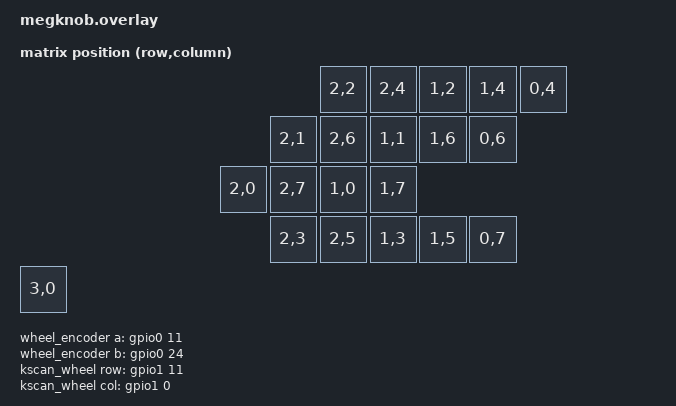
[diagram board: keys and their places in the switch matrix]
/*
 * SPDX-License-Identifier: MIT
 */

#include <dt-bindings/led/led.h>
#include <dt-bindings/zmk/matrix_transform.h>
#include <physical_layouts.dtsi>
#include <zephyr/dt-bindings/adc/adc.h>
#include <zephyr/dt-bindings/adc/nrf-saadc.h>

/ {
    chosen {
        zmk,kscan = &kscan0;
        zmk,physical-layout = &megknob_layout;
        zmk,underglow = &led_strip;
        /* Dedicated USB CDC ACM virtual serial port for Hall voltage
         * telemetry (see app/module/lib/hall_telemetry), separate and
         * independent from HID/BLE. Enabling
         * this only turns on the telemetry *link*; the actual Kconfig
         * (CONFIG_HALL_TELEMETRY) still has to be enabled in megknob.conf. */
        zmk,hall-telemetry-uart = &hall_telemetry_uart;
    };

    kscan0: kscan {
        compatible = "zmk,kscan-composite";
        rows = <4>;
        columns = <8>;

        adc_mux {
            kscan = <&kscan_adc_mux>;
        };

        wheel {
            kscan = <&kscan_wheel>;
            row-offset = <3>;
        };
    };

    /* Wheel rotation quadrature encoder. The wheel's A/B phases (P0.11,
     * P0.24 against the common P1.11) used to be wired into kscan_wheel as
     * two independent matrix keys, which is electrically wrong for a
     * mechanical encoder: both phases toggle on every detent, so a single
     * rotation in either direction produced two key events instead of one
     * directional step. alps,ec11 decodes the canonical
     * 00 -> 01 -> 11 -> 10 (or reverse) gray-code sequence and reports a
     * single signed delta per detent instead.
     *
     * steps/triggers-per-rotation below are carried over from the previous
     * per-phase GPIO wiring as a starting point and have not been verified
     * against the physical encoder's pulses-per-rotation with a logic
     * analyzer; recheck direction and step count on real hardware before
     * relying on them for anything other than "does turning produce
     * same-signed deltas in one direction". */
    wheel_encoder: wheel_encoder {
        compatible = "alps,ec11";
        status = "okay";
        a-gpios = <&gpio0 11 GPIO_ACTIVE_HIGH>;
        b-gpios = <&gpio0 24 GPIO_ACTIVE_HIGH>;
        steps = <80>;
    };

    sensors: sensors {
        compatible = "zmk,keymap-sensors";
        sensors = <&wheel_encoder>;
        triggers-per-rotation = <20>;
    };

    kscan_adc_mux: kscan_adc_mux {
        compatible = "zmk,kscan-adc-mux";
        wakeup-source;
        address-gpios
            = <&gpio1 6 GPIO_ACTIVE_HIGH>
            , <&gpio0 9 GPIO_ACTIVE_HIGH>
            , <&gpio0 10 GPIO_ACTIVE_HIGH>;
        io-channels = <&adc 7>, <&adc 5>, <&adc 0>;
        polling-interval-ms = <5>;
        settle-time-us = <20>;
        press-threshold-mv = <1000>;
        release-threshold-mv = <1300>;
        /* Require ~3 consecutive 5ms scans (15ms) agreeing before latching a
         * transition. Hall output can hover right at the press/release
         * threshold (mechanical vibration, magnet wobble, ADC noise) even
         * while the finger is holding perfectly still; without this the
         * driver used to emit a burst of spurious press/release pairs at
         * scan rate whenever that happened, which could desync ZMK's
         * modifier reference counting and leave Ctrl/Alt/GUI stuck down on
         * the host with no USB/BLE disconnect involved. */
        debounce-press-ms = <15>;
        debounce-release-ms = <15>;
    };

    /* Wheel push only. The A/B rotation phases that used to live in
     * columns 1/2 here have moved to wheel_encoder above; this now only
     * scans the physical push button on P1.00 against the common P1.11. */
    kscan_wheel: kscan_wheel {
        compatible = "zmk,kscan-gpio-matrix";
        wakeup-source;
        debounce-press-ms = <10>;
        debounce-release-ms = <10>;
        diode-direction = "col2row";
        row-gpios = <&gpio1 11 (GPIO_ACTIVE_HIGH | GPIO_PULL_DOWN)>;
        col-gpios = <&gpio1 0 GPIO_ACTIVE_HIGH>;
    };

    /* Only 20 physical keys now: the wheel's two rotation phases (formerly
     * the last two entries here, RC(3,1)/RC(3,2)) are no longer matrix
     * positions -- they are decoded by wheel_encoder/sensors above and
     * bound in the keymap via sensor-bindings instead of key bindings. */
    megknob_layout: physical_layout_0 {
        compatible = "zmk,physical-layout";
        display-name = "MegKnob";
        keys
            = <&key_physical_attrs 100 100 600   0 0 0 0>
            , <&key_physical_attrs 100 100 700   0 0 0 0>
            , <&key_physical_attrs 100 100 800   0 0 0 0>
            , <&key_physical_attrs 100 100 900   0 0 0 0>
            , <&key_physical_attrs 100 100 1000  0 0 0 0>
            , <&key_physical_attrs 100 100 500 100 0 0 0>
            , <&key_physical_attrs 100 100 600 100 0 0 0>
            , <&key_physical_attrs 100 100 700 100 0 0 0>
            , <&key_physical_attrs 100 100 800 100 0 0 0>
            , <&key_physical_attrs 100 100 900 100 0 0 0>
            , <&key_physical_attrs 100 100 400 200 0 0 0>
            , <&key_physical_attrs 100 100 500 200 0 0 0>
            , <&key_physical_attrs 100 100 600 200 0 0 0>
            , <&key_physical_attrs 100 100 700 200 0 0 0>
            , <&key_physical_attrs 100 100 500 300 0 0 0>
            , <&key_physical_attrs 100 100 600 300 0 0 0>
            , <&key_physical_attrs 100 100 700 300 0 0 0>
            , <&key_physical_attrs 100 100 800 300 0 0 0>
            , <&key_physical_attrs 100 100 900 300 0 0 0>
            , <&key_physical_attrs 100 100   0 400 0 0 0>;
        transform = <&megknob_transform>;
    };

    megknob_transform: keymap_transform_0 {
        compatible = "zmk,matrix-transform";
        columns = <8>;
        rows = <4>;
        map = <
            RC(2,2) RC(2,4) RC(1,2) RC(1,4) RC(0,4)
            RC(2,1) RC(2,6) RC(1,1) RC(1,6) RC(0,6)
            RC(2,0) RC(2,7) RC(1,0) RC(1,7)
            RC(2,3) RC(2,5) RC(1,3) RC(1,5) RC(0,7)
            RC(3,0)
        >;
    };
};

&adc {
    status = "okay";
    #address-cells = <1>;
    #size-cells = <0>;

    channel@0 {
        reg = <0>;
        zephyr,gain = "ADC_GAIN_1_6";
        zephyr,reference = "ADC_REF_INTERNAL";
        zephyr,acquisition-time = <ADC_ACQ_TIME_DEFAULT>;
        zephyr,input-positive = <NRF_SAADC_AIN0>;
        zephyr,resolution = <12>;
    };

    channel@5 {
        reg = <5>;
        zephyr,gain = "ADC_GAIN_1_6";
        zephyr,reference = "ADC_REF_INTERNAL";
        zephyr,acquisition-time = <ADC_ACQ_TIME_DEFAULT>;
        zephyr,input-positive = <NRF_SAADC_AIN5>;
        zephyr,resolution = <12>;
    };

    channel@7 {
        reg = <7>;
        zephyr,gain = "ADC_GAIN_1_6";
        zephyr,reference = "ADC_REF_INTERNAL";
        zephyr,acquisition-time = <ADC_ACQ_TIME_DEFAULT>;
        zephyr,input-positive = <NRF_SAADC_AIN7>;
        zephyr,resolution = <12>;
    };
};

&zephyr_udc0 {
    hall_telemetry_uart: hall_telemetry_uart {
        compatible = "zephyr,cdc-acm-uart";
    };
};

&pinctrl {
    megknob_spi3_default: megknob_spi3_default {
        group1 {
            psels = <NRF_PSEL(SPIM_MOSI, 1, 4)>;
        };
    };

    megknob_spi3_sleep: megknob_spi3_sleep {
        group1 {
            psels = <NRF_PSEL(SPIM_MOSI, 1, 4)>;
            low-power-enable;
        };
    };
};

&spi3 {
    compatible = "nordic,nrf-spim";
    status = "okay";

    pinctrl-0 = <&megknob_spi3_default>;
    pinctrl-1 = <&megknob_spi3_sleep>;
    pinctrl-names = "default", "sleep";

    led_strip: ws2812@0 {
        compatible = "worldsemi,ws2812-spi";
        reg = <0>;
        spi-max-frequency = <4000000>;

        chain-length = <19>;
        spi-one-frame = <0x70>;
        spi-zero-frame = <0x40>;

        color-mapping = <LED_COLOR_ID_GREEN LED_COLOR_ID_RED LED_COLOR_ID_BLUE>;
    };
};
